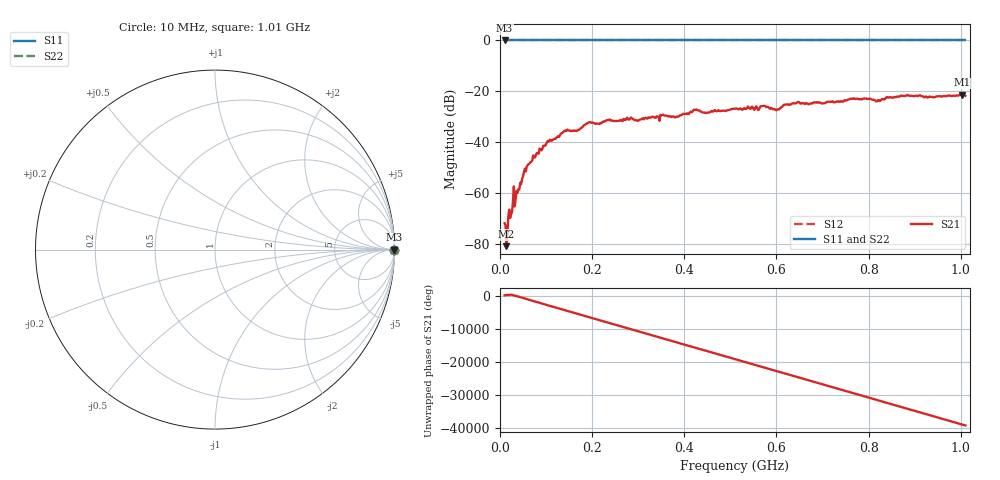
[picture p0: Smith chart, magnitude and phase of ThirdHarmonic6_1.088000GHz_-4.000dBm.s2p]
! 8/16/2025 10:04:32 AM
! C:\ANRITSUVNA\TEMP\TEMP.S2P
! CHANNEL.1
! TR.MEASUREMENT
! RAW.DATA
! RF.CORRECTION.OFF
! AVERAGING.OFF
! IF.BANDWIDTH: 5KHZ
! SWEEPTYPE:  FREQ.SWEEP(Linear)
! Reference Plane Port Info
! PORT:  PORT1  PORT2
! DISTANCE:  0  m  0  m
! TIME:  0  s  0  s
! PHASE.OFFSET:  0  deg.  0  deg.
! LOSS:  0  dB  0  dB
! REF.LOSS:  0  dB  0  dB
! REF.FREQ:  0  Hz  0  Hz
! Power Info
! POWER:  -20  dBm  -20  dBm
! EFF.POWER:  -20  dBm  -20  dBm
! SOURCE.ATTEN:  0  dB  0  dB
! TEST.ATTEN:  0  dB  0  dB
# GHZ S RI R 50.0
! FREQ.GHZ  S11RE  S11IM  S21RE  S21IM  S12RE  S12IM  S22RE  S22IM
!; PortSelection: Port_12
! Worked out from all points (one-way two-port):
!   501 points, 10 MHz to 1.01 GHz, reference 50 ohm
!   highest |S21| = -21.30 dB at 1.002 GHz (marker M1); lowest = -81.0 dB at 14 MHz (marker M2)
!   lowest |S11| = 0.0 dB at 10 MHz (marker M3)
!   |S11| at or under -10 dB: nowhere
!   |S22| runs from 0.0 to 0.0 dB; largest |S21 - S12| = 1.1
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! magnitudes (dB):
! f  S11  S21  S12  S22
! 10 MHz  0.0  -71.9  0.0  0.0
! 14 MHz  0.0  -81.0  0.0  0.0
! 32 MHz  0.0  -65.3  0.0  0.0
! 36 MHz  0.0  -59.2  0.0  0.0
! 56 MHz  0.0  -51.6  0.0  0.0
! 76 MHz  0.0  -46.1  0.0  0.0
! 106 MHz  0.0  -39.8  0.0  0.0
! 138 MHz  0.0  -35.8  0.0  0.0
! 178 MHz  0.0  -34.2  0.0  0.0
! 234 MHz  0.0  -31.3  0.0  0.0
! 344 MHz  0.0  -30.0  0.0  0.0
! 384 MHz  0.0  -30.0  0.0  0.0
! 424 MHz  0.0  -27.3  0.0  0.0
! 446 MHz  0.0  -28.4  0.0  0.0
! 510 MHz  0.0  -26.9  0.0  0.0
! 572 MHz  0.0  -25.7  0.0  0.0
! 602 MHz  0.0  -27.1  0.0  0.0
! 620 MHz  0.0  -25.2  0.0  0.0
! 678 MHz  0.0  -24.8  0.0  0.0
! 844 MHz  0.0  -22.5  0.0  0.0
! 1.002 GHz  0.0  -21.3  0.0  0.0
! 1.01 GHz  0.0  -21.8  0.0  0.0
